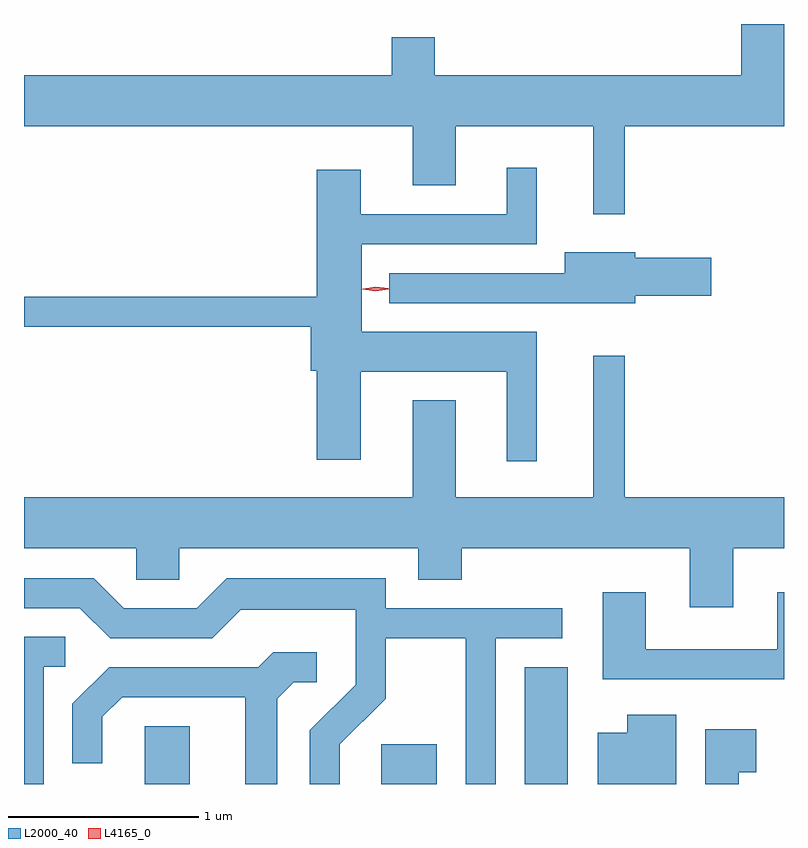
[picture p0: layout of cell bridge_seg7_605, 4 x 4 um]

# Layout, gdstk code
import gdstk
lib = gdstk.Library(unit=1e-6, precision=1e-09)
def R(c, l, rs):  # rectangles x0, y0, x1, y1
    for r in rs: c.add(gdstk.rectangle(r[:2], r[2:], *l))
def P(c, l, *ps):  # polygons
    for p in ps: c.add(gdstk.Polygon(p, *l))
L2000_40 = (2000, 40)
L4165_0 = (4165, 0)

bridge_seg7_605 = lib.new_cell('bridge_seg7_605')
R(bridge_seg7_605, L2000_40, [(756.071,1699.755,756.309,1700.059), (757.316,1699.755,757.609,1699.964), (758.071,1699.755,758.299,1700.369)])
P(bridge_seg7_605, L2000_40, [(758.599,1703.216),(759.436,1703.216),(759.436,1703.755),(759.211,1703.755),(759.211,1703.484),(757.599,1703.484),(757.599,1703.684),(757.371,1703.684),(757.371,1703.484),(755.436,1703.484),(755.436,1703.216),(757.481,1703.216),(757.481,1702.906),(757.709,1702.906),(757.709,1703.216),(758.431,1703.216),(758.431,1702.753),(758.599,1702.753)],
  [(758.134,1702.134),(757.214,1702.134),(757.214,1702.596),(758.134,1702.596),(758.134,1702.998),(757.976,1702.998),(757.976,1702.754),(757.209,1702.754),(757.209,1702.989),(756.976,1702.989),(756.976,1702.319),(755.436,1702.319),(755.436,1702.161),(756.946,1702.161),(756.946,1701.931),(756.976,1701.931),(756.976,1701.461),(757.209,1701.461),(757.209,1701.926),(757.976,1701.926),(757.976,1701.453),(758.134,1701.453)],
  [(758.654,1702.326),(759.054,1702.326),(759.054,1702.524),(758.654,1702.524),(758.654,1702.554),(758.281,1702.554),(758.281,1702.444),(757.358,1702.444),(757.358,1702.286),(758.654,1702.286)],
  [(759.169,1700.996),(759.436,1700.996),(759.436,1701.264),(758.599,1701.264),(758.599,1702.008),(758.431,1702.008),(758.431,1701.264),(757.709,1701.264),(757.709,1701.774),(757.481,1701.774),(757.481,1701.264),(755.436,1701.264),(755.436,1700.996),(756.026,1700.996),(756.026,1700.831),(756.254,1700.831),(756.254,1700.996),(757.511,1700.996),(757.511,1700.831),(757.739,1700.831),(757.739,1700.996),(758.941,1700.996),(758.941,1700.686),(759.169,1700.686)],
  [(757.099,1699.964),(757.339,1700.204),(757.339,1700.521),(757.761,1700.521),(757.761,1699.755),(757.919,1699.755),(757.919,1700.521),(758.268,1700.521),(758.268,1700.679),(757.339,1700.679),(757.339,1700.839),(756.504,1700.839),(756.344,1700.679),(755.962,1700.679),(755.802,1700.839),(755.436,1700.839),(755.436,1700.681),(755.729,1700.681),(755.889,1700.521),(756.427,1700.521),(756.577,1700.671),(757.181,1700.671),(757.181,1700.277),(756.941,1700.037),(756.941,1699.755),(757.099,1699.755)],
  [(759.436,1700.764),(759.401,1700.764),(759.401,1700.464),(758.709,1700.464),(758.709,1700.764),(758.481,1700.764),(758.481,1700.306),(759.436,1700.306)],
  [(755.539,1700.371),(755.653,1700.371),(755.653,1700.529),(755.436,1700.529),(755.436,1699.755),(755.539,1699.755)],
  [(756.769,1700.204),(756.857,1700.291),(756.978,1700.291),(756.978,1700.449),(756.749,1700.449),(756.669,1700.369),(755.884,1700.369),(755.691,1700.177),(755.691,1699.863),(755.849,1699.863),(755.849,1700.109),(755.952,1700.211),(756.601,1700.211),(756.601,1699.755),(756.769,1699.755)],
  [(758.869,1700.119),(758.611,1700.119),(758.611,1700.024),(758.456,1700.024),(758.456,1699.755),(758.869,1699.755)],
  [(759.199,1699.816),(759.289,1699.816),(759.289,1700.044),(759.021,1700.044),(759.021,1699.755),(759.199,1699.755)])
P(bridge_seg7_605, L4165_0, [(757.287,1702.349),(757.217,1702.359),(757.217,1702.359),(757.217,1702.36),(757.286,1702.369),(757.356,1702.36),(757.356,1702.36),(757.356,1702.359)],
  [(757.287,1702.352),(757.222,1702.361),(757.221,1702.362),(757.222,1702.362),(757.287,1702.372),(757.352,1702.363),(757.353,1702.362),(757.352,1702.362)])

lib.write_gds('bridge_seg7_605.gds')
